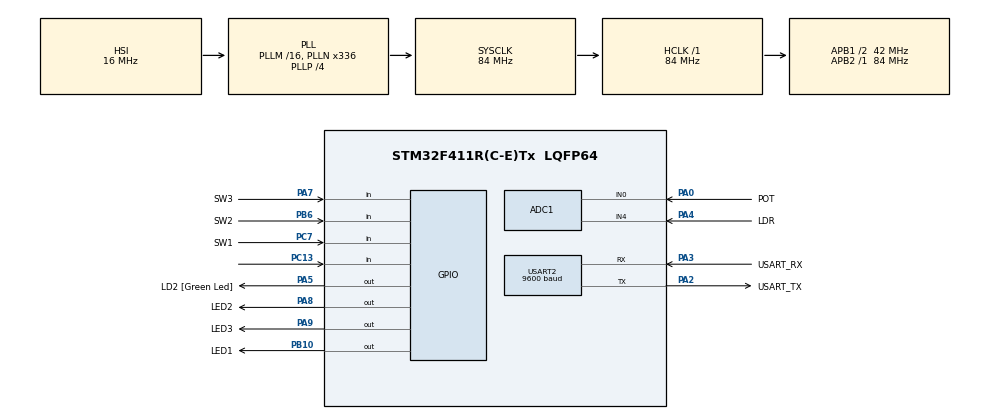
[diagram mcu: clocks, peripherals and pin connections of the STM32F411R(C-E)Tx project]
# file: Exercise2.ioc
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ADC1.Channel-1\#ChannelRegularConversion=ADC_CHANNEL_0
ADC1.NbrOfConversionFlag=1
ADC1.Rank-1\#ChannelRegularConversion=1
ADC1.SamplingTime-1\#ChannelRegularConversion=ADC_SAMPLETIME_3CYCLES
ADC1.master=1
Mcu.Family=STM32F4
Mcu.Name=STM32F411R(C-E)Tx
Mcu.Package=LQFP64
NVIC.PriorityGroup=NVIC_PRIORITYGROUP_0
NVIC.TIM1_TRG_COM_TIM11_IRQn=true\:0\:0\:false\:false\:true\:true\:true\:true
NVIC.USART2_IRQn=true\:0\:0\:false\:false\:true\:true\:true\:true
PA0-WKUP.GPIO_Label=POT
PA0-WKUP.Signal=ADCx_IN0
PA13.GPIO_Label=TMS
PA13.Mode=Serial_Wire
PA13.Signal=SYS_JTMS-SWDIO
PA14.GPIO_Label=TCK
PA14.Mode=Serial_Wire
PA14.Signal=SYS_JTCK-SWCLK
PA2.GPIO_Label=USART_TX
PA2.Mode=Asynchronous
PA2.Signal=USART2_TX
PA3.GPIO_Label=USART_RX
PA3.Mode=Asynchronous
PA3.Signal=USART2_RX
PA4.GPIO_Label=LDR
PA4.Signal=ADCx_IN4
PA5.GPIO_Label=LD2 [Green Led]
PA5.Signal=GPIO_Output
PA7.GPIO_Label=SW3
PA7.Signal=GPIO_Input
PA8.GPIO_Label=LED2
PA8.Signal=GPIO_Output
PA9.GPIO_Label=LED3
PA9.Signal=GPIO_Output
PB10.GPIO_Label=LED1
PB10.Signal=GPIO_Output
PB3.GPIO_Label=SWO
PB3.Signal=SYS_JTDO-SWO
PB6.GPIO_Label=SW2
PB6.Signal=GPIO_Input
PC13-ANTI_TAMP.Signal=GPIO_Input
PC14-OSC32_IN.Mode=LSE-External-Oscillator
PC14-OSC32_IN.Signal=RCC_OSC32_IN
PC15-OSC32_OUT.Mode=LSE-External-Oscillator
PC15-OSC32_OUT.Signal=RCC_OSC32_OUT
PC7.GPIO_Label=SW1
PC7.Signal=GPIO_Input
PH0\ -\ OSC_IN.Mode=HSE-External-Clock-Source
PH0\ -\ OSC_IN.Signal=RCC_OSC_IN
PH1\ -\ OSC_OUT.Mode=HSE-External-Clock-Source
PH1\ -\ OSC_OUT.Signal=RCC_OSC_OUT
ProjectManager.HeapSize=0x200
ProjectManager.StackSize=0x400
ProjectManager.TargetToolchain=STM32CubeIDE
RCC.48MHZClocksFreq_Value=84000000
RCC.AHBFreq_Value=84000000
RCC.APB1CLKDivider=RCC_HCLK_DIV2
RCC.APB1Freq_Value=42000000
RCC.APB1TimFreq_Value=84000000
RCC.APB2Freq_Value=84000000
RCC.APB2TimFreq_Value=84000000
RCC.CortexFreq_Value=84000000
RCC.FLatency-AdvancedSettings=FLASH_LATENCY_2
RCC.HCLKFreq_Value=84000000
RCC.HSE_VALUE=8000000
RCC.HSI_VALUE=16000000
RCC.PLLN=336
RCC.PLLP=RCC_PLLP_DIV4
RCC.SYSCLKFreq_VALUE=84000000
RCC.SYSCLKSource=RCC_SYSCLKSOURCE_PLLCLK
RCC.VCOOutputFreq_Value=336000000
SH.ADCx_IN0.0=ADC1_IN0,IN0
SH.ADCx_IN4.0=ADC1_IN4,IN4
TIM11.Period=3700-1
TIM11.Prescaler=84-1
USART2.BaudRate=9600
USART2.VirtualMode=VM_ASYNC
VP_TIM11_VS_ClockSourceINT.Mode=Enable_Timer
board=NUCLEO-F411RE

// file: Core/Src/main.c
/* USER CODE BEGIN Header */
/**
 ******************************************************************************
 * @file           : main.c
 * @brief          : Main program body
 ******************************************************************************
 * @attention
 *
 * Copyright (c) 2022 STMicroelectronics.
 * All rights reserved.
 *
 * This software is licensed under terms that can be found in the LICENSE file
 * in the root directory of this software component.
 * If no LICENSE file comes with this software, it is provided AS-IS.
 *
 ******************************************************************************
 */
/* USER CODE END Header */
#include "main.h"

 ADC_HandleTypeDef hadc1;

TIM_HandleTypeDef htim11;

UART_HandleTypeDef huart2;

/* USER CODE BEGIN PV */
extern int TxPacketReady, TxPacketSize;
extern unsigned char data[15];
extern uint8_t buffer[8];
extern unsigned short HR[5];

/* USER CODE END PV */

void SystemClock_Config(void);
static void MX_GPIO_Init(void);
static void MX_USART2_UART_Init(void);
static void MX_ADC1_Init(void);
static void MX_TIM11_Init(void);

/* USER CODE BEGIN PFP */

uint16_t ReadADC(int	ch)
{
	uint16_t ADCvalue;
	/** Configure for the selected ADC regular channel its corresponding rank in the sequencer and its sample time.
	*/
	ADC_ChannelConfTypeDef sConfig = {0};
	sConfig.Channel = ch;
	sConfig.Rank = 1;
	sConfig.SamplingTime = ADC_SAMPLETIME_84CYCLES;
	if (HAL_ADC_ConfigChannel(&hadc1, &sConfig) != HAL_OK)
	{
	  Error_Handler();
	}
	HAL_ADC_Start(&hadc1);
	HAL_ADC_PollForConversion(&hadc1, 1000);
	ADCvalue = HAL_ADC_GetValue(&hadc1);
	HAL_ADC_Stop(&hadc1);

	return ADCvalue;
}

/* USER CODE END PFP */

/* USER CODE BEGIN 0 */
unsigned short CRC16(unsigned char*, unsigned short);
void Modbus_handler(uint8_t*);
/* USER CODE END 0 */

int main(void)
{

  /* MCU Configuration--------------------------------------------------------*/

  /* Reset of all peripherals, Initializes the Flash interface and the Systick. */
  HAL_Init();

  /* Configure the system clock */
  SystemClock_Config();

  /* Initialize all configured peripherals */
  MX_GPIO_Init();
  MX_USART2_UART_Init();
  MX_ADC1_Init();
  MX_TIM11_Init();
  /* USER CODE BEGIN 2 */
  HR[0] = 1234;	// set up my slave ID (1234)
  /* USER CODE END 2 */

  /* Infinite loop */
  /* USER CODE BEGIN WHILE */

	while (1) {

		HR[1] = ReadADC(ADC_CHANNEL_0);		// store raw Pot. value
		HR[2] = ((float)HR[1]/4096)*3300;	// store Pot. voltage in mV
		HR[3] = ReadADC(ADC_CHANNEL_4);		// store raw LDR value
		HR[4] = ((float)HR[3]/4096)*100;	// store % light intensity

		if(TxPacketReady == 1){				// Tx packet is waiting for transmission?
			HAL_UART_Transmit(&huart2, data, TxPacketSize, 50);	// send the packet to the master

			TxPacketReady = 0;				// transmission is done
    /* USER CODE END WHILE */

		}
	}
  /* USER CODE END 3 */
}

void SystemClock_Config(void)
{
  RCC_OscInitTypeDef RCC_OscInitStruct = {0};
  RCC_ClkInitTypeDef RCC_ClkInitStruct = {0};

  /** Configure the main internal regulator output voltage
  */
  __HAL_RCC_PWR_CLK_ENABLE();
  __HAL_PWR_VOLTAGESCALING_CONFIG(PWR_REGULATOR_VOLTAGE_SCALE1);

  /** Initializes the RCC Oscillators according to the specified parameters
  * in the RCC_OscInitTypeDef structure.
  */
  RCC_OscInitStruct.OscillatorType = RCC_OSCILLATORTYPE_HSI;
  RCC_OscInitStruct.HSIState = RCC_HSI_ON;
  RCC_OscInitStruct.HSICalibrationValue = RCC_HSICALIBRATION_DEFAULT;
  RCC_OscInitStruct.PLL.PLLState = RCC_PLL_ON;
  RCC_OscInitStruct.PLL.PLLSource = RCC_PLLSOURCE_HSI;
  RCC_OscInitStruct.PLL.PLLM = 16;
  RCC_OscInitStruct.PLL.PLLN = 336;
  RCC_OscInitStruct.PLL.PLLP = RCC_PLLP_DIV4;
  RCC_OscInitStruct.PLL.PLLQ = 4;
  if (HAL_RCC_OscConfig(&RCC_OscInitStruct) != HAL_OK)
  {
    Error_Handler();
  }

  /** Initializes the CPU, AHB and APB buses clocks
  */
  RCC_ClkInitStruct.ClockType = RCC_CLOCKTYPE_HCLK|RCC_CLOCKTYPE_SYSCLK
                              |RCC_CLOCKTYPE_PCLK1|RCC_CLOCKTYPE_PCLK2;
  RCC_ClkInitStruct.SYSCLKSource = RCC_SYSCLKSOURCE_PLLCLK;
  RCC_ClkInitStruct.AHBCLKDivider = RCC_SYSCLK_DIV1;
  RCC_ClkInitStruct.APB1CLKDivider = RCC_HCLK_DIV2;
  RCC_ClkInitStruct.APB2CLKDivider = RCC_HCLK_DIV1;

  if (HAL_RCC_ClockConfig(&RCC_ClkInitStruct, FLASH_LATENCY_2) != HAL_OK)
  {
    Error_Handler();
  }
}

static void MX_ADC1_Init(void)
{

  //ADC_ChannelConfTypeDef sConfig = {0};

  /** Configure the global features of the ADC (Clock, Resolution, Data Alignment and number of conversion)
  */
  hadc1.Instance = ADC1;
  hadc1.Init.ClockPrescaler = ADC_CLOCK_SYNC_PCLK_DIV4;
  hadc1.Init.Resolution = ADC_RESOLUTION_12B;
  hadc1.Init.ScanConvMode = ENABLE;
  hadc1.Init.ContinuousConvMode = ENABLE;
  hadc1.Init.DiscontinuousConvMode = DISABLE;
  hadc1.Init.ExternalTrigConvEdge = ADC_EXTERNALTRIGCONVEDGE_NONE;
  hadc1.Init.ExternalTrigConv = ADC_SOFTWARE_START;
  hadc1.Init.DataAlign = ADC_DATAALIGN_RIGHT;
  hadc1.Init.NbrOfConversion = 1;
  hadc1.Init.DMAContinuousRequests = DISABLE;
  hadc1.Init.EOCSelection = ADC_EOC_SINGLE_CONV;
  if (HAL_ADC_Init(&hadc1) != HAL_OK)
  {
    Error_Handler();
  }
}

static void MX_TIM11_Init(void)
{

  htim11.Instance = TIM11;
  htim11.Init.Prescaler = 84-1;
  htim11.Init.CounterMode = TIM_COUNTERMODE_UP;
  htim11.Init.Period = 3700-1;
  htim11.Init.ClockDivision = TIM_CLOCKDIVISION_DIV1;
  htim11.Init.AutoReloadPreload = TIM_AUTORELOAD_PRELOAD_DISABLE;
  if (HAL_TIM_Base_Init(&htim11) != HAL_OK)
  {
    Error_Handler();
  }
  /* USER CODE BEGIN TIM11_Init 2 */
  //clear interrupt | TIM->SR (UIF)
  TIM11->SR &= 0xFFFE;

  //TO DO #1: enable timer update interrupt
  TIM11->DIER |= 1;

  TIM11->CR1 &= 0xFFFE;
  /* USER CODE END TIM11_Init 2 */

}

static void MX_USART2_UART_Init(void)
{

  huart2.Instance = USART2;
  huart2.Init.BaudRate = 9600;
  huart2.Init.WordLength = UART_WORDLENGTH_8B;
  huart2.Init.StopBits = UART_STOPBITS_1;
  huart2.Init.Parity = UART_PARITY_NONE;
  huart2.Init.Mode = UART_MODE_TX_RX;
  huart2.Init.HwFlowCtl = UART_HWCONTROL_NONE;
  huart2.Init.OverSampling = UART_OVERSAMPLING_16;
  if (HAL_UART_Init(&huart2) != HAL_OK)
  {
    Error_Handler();
  }
  /* USER CODE BEGIN USART2_Init 2 */

  // TO DO #2: enable USART Rx Interrupt
  USART2->CR1 = USART2->CR1 | 0x20;

  /* USER CODE END USART2_Init 2 */

}

static void MX_GPIO_Init(void)
{
  GPIO_InitTypeDef GPIO_InitStruct = {0};

  /* GPIO Ports Clock Enable */
  __HAL_RCC_GPIOC_CLK_ENABLE();
  __HAL_RCC_GPIOH_CLK_ENABLE();
  __HAL_RCC_GPIOA_CLK_ENABLE();
  __HAL_RCC_GPIOB_CLK_ENABLE();

  /*Configure GPIO pin Output Level */
  HAL_GPIO_WritePin(GPIOA, LD2_Pin|LED2_Pin|LED3_Pin, GPIO_PIN_RESET);

  /*Configure GPIO pin Output Level */
  HAL_GPIO_WritePin(LED1_GPIO_Port, LED1_Pin, GPIO_PIN_RESET);

  /*Configure GPIO pins : PC13 SW1_Pin */
  GPIO_InitStruct.Pin = GPIO_PIN_13|SW1_Pin;
  GPIO_InitStruct.Mode = GPIO_MODE_INPUT;
  GPIO_InitStruct.Pull = GPIO_NOPULL;
  HAL_GPIO_Init(GPIOC, &GPIO_InitStruct);

  /*Configure GPIO pins : LD2_Pin LED2_Pin LED3_Pin */
  GPIO_InitStruct.Pin = LD2_Pin|LED2_Pin|LED3_Pin;
  GPIO_InitStruct.Mode = GPIO_MODE_OUTPUT_PP;
  GPIO_InitStruct.Pull = GPIO_NOPULL;
  GPIO_InitStruct.Speed = GPIO_SPEED_FREQ_LOW;
  HAL_GPIO_Init(GPIOA, &GPIO_InitStruct);

  /*Configure GPIO pin : SW3_Pin */
  GPIO_InitStruct.Pin = SW3_Pin;
  GPIO_InitStruct.Mode = GPIO_MODE_INPUT;
  GPIO_InitStruct.Pull = GPIO_NOPULL;
  HAL_GPIO_Init(SW3_GPIO_Port, &GPIO_InitStruct);

  /*Configure GPIO pin : LED1_Pin */
  GPIO_InitStruct.Pin = LED1_Pin;
  GPIO_InitStruct.Mode = GPIO_MODE_OUTPUT_PP;
  GPIO_InitStruct.Pull = GPIO_NOPULL;
  GPIO_InitStruct.Speed = GPIO_SPEED_FREQ_LOW;
  HAL_GPIO_Init(LED1_GPIO_Port, &GPIO_InitStruct);

  /*Configure GPIO pin : SW2_Pin */
  GPIO_InitStruct.Pin = SW2_Pin;
  GPIO_InitStruct.Mode = GPIO_MODE_INPUT;
  GPIO_InitStruct.Pull = GPIO_NOPULL;
  HAL_GPIO_Init(SW2_GPIO_Port, &GPIO_InitStruct);

}

void Error_Handler(void)
{
	__disable_irq();
	while (1) {
	}
}
